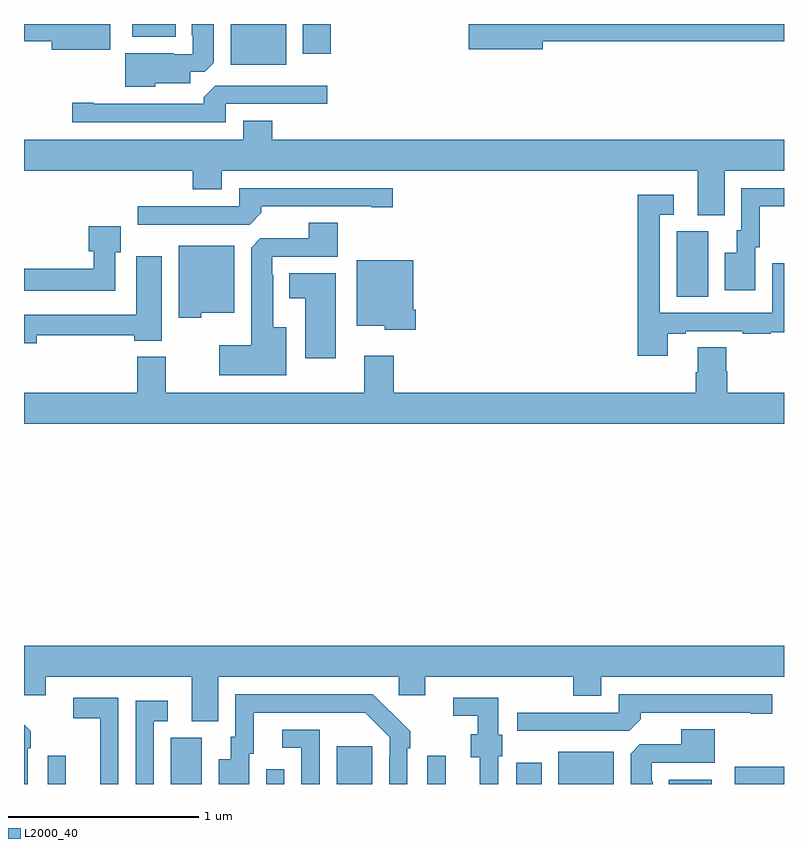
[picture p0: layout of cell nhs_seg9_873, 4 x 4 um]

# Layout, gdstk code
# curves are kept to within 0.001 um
import gdstk
lib = gdstk.Library(unit=1e-6, precision=1e-09)
def R(c, l, rs):  # rectangles x0, y0, x1, y1
    for r in rs: c.add(gdstk.rectangle(r[:2], r[2:], *l))
def P(c, l, *ps):  # polygons
    for p in ps: c.add(gdstk.Polygon(p, *l))
L2000_40 = (2000, 40)

nhs_seg9_873 = lib.new_cell('nhs_seg9_873')
R(nhs_seg9_873, L2000_40, [(157.125,1218.5,157.221,1218.649), (157.772,1218.5,157.936,1218.744), (158.274,1218.5,158.37,1218.577), (158.645,1218.5,158.833,1218.7), (159.123,1218.5,159.219,1218.649), (159.59,1218.5,159.724,1218.613), (159.812,1218.5,160.105,1218.67), (160.394,1218.5,160.621,1218.523), (160.74,1218.5,161,1218.592), (160.436,1221.064,160.6,1221.408), (158.087,1222.286,158.38,1222.5), (158.468,1222.344,158.615,1222.5), (157.571,1222.433,157.798,1222.5)])
P(nhs_seg9_873, L2000_40, [(157.453,1222.5),(157,1222.5),(157,1222.408),(157.145,1222.408),(157.145,1222.364),(157.453,1222.364)],
  [(157.692,1222.187),(157.876,1222.187),(157.876,1222.248),(157.95,1222.248),(157.999,1222.297),(157.999,1222.5),(157.883,1222.5),(157.883,1222.441),(157.887,1222.441),(157.887,1222.341),(157.787,1222.341),(157.787,1222.345),(157.532,1222.345),(157.532,1222.169),(157.692,1222.169)],
  [(159.73,1222.408),(161,1222.408),(161,1222.5),(159.342,1222.5),(159.342,1222.366),(159.73,1222.366)],
  [(158.061,1222.08),(158.596,1222.08),(158.596,1222.176),(158.007,1222.176),(157.946,1222.114),(157.946,1222.08),(157.366,1222.08),(157.366,1222.085),(157.254,1222.085),(157.254,1221.984),(158.061,1221.984)],
  [(160.687,1221.728),(161,1221.728),(161,1221.892),(158.306,1221.892),(158.306,1221.991),(158.153,1221.991),(158.153,1221.892),(157,1221.892),(157,1221.728),(157.889,1221.728),(157.889,1221.629),(158.041,1221.629),(158.041,1221.728),(160.547,1221.728),(160.547,1221.493),(160.687,1221.493)],
  [(160.849,1221.324),(160.873,1221.324),(160.873,1221.54),(161,1221.54),(161,1221.636),(160.776,1221.636),(160.776,1221.414),(160.751,1221.414),(160.751,1221.295),(160.688,1221.295),(160.688,1221.099),(160.849,1221.099)],
  [(158.249,1221.506),(158.249,1221.54),(158.828,1221.54),(158.828,1221.535),(158.941,1221.535),(158.941,1221.636),(158.133,1221.636),(158.133,1221.54),(157.599,1221.54),(157.599,1221.444),(158.187,1221.444)],
  [(160.387,1220.871),(160.483,1220.871),(160.483,1220.883),(160.783,1220.883),(160.783,1220.871),(160.931,1220.871),(160.931,1220.877),(161,1220.877),(161,1221.241),(160.938,1221.241),(160.938,1220.979),(160.347,1220.979),(160.347,1221.495),(160.42,1221.495),(160.42,1221.601),(160.231,1221.601),(160.231,1220.754),(160.387,1220.754)],
  [(158.38,1220.905),(158.311,1220.905),(158.311,1221.179),(158.307,1221.179),(158.307,1221.276),(158.651,1221.276),(158.651,1221.455),(158.498,1221.455),(158.498,1221.372),(158.244,1221.372),(158.195,1221.323),(158.195,1220.809),(158.028,1220.809),(158.028,1220.651),(158.38,1220.651)],
  [(157.479,1221.298),(157.51,1221.298),(157.51,1221.435),(157.34,1221.435),(157.34,1221.305),(157.367,1221.305),(157.367,1221.212),(157,1221.212),(157,1221.096),(157.479,1221.096)],
  [(157.932,1220.981),(158.107,1220.981),(158.107,1221.334),(157.814,1221.334),(157.814,1220.954),(157.932,1220.954)],
  [(157.066,1220.862),(157.58,1220.862),(157.58,1220.834),(157.726,1220.834),(157.726,1221.277),(157.592,1221.277),(157.592,1220.97),(157,1220.97),(157,1220.819),(157.066,1220.819)],
  [(159.062,1220.995),(159.049,1220.995),(159.049,1221.256),(158.75,1221.256),(158.75,1220.912),(158.898,1220.912),(158.898,1220.891),(159.062,1220.891)],
  [(158.641,1221.187),(158.396,1221.187),(158.396,1221.056),(158.48,1221.056),(158.48,1220.742),(158.641,1220.742)],
  [(161,1220.56),(160.7,1220.56),(160.7,1220.673),(160.695,1220.673),(160.695,1220.798),(160.547,1220.798),(160.547,1220.666),(160.535,1220.666),(160.535,1220.56),(158.945,1220.56),(158.945,1220.755),(158.792,1220.755),(158.792,1220.56),(157.747,1220.56),(157.747,1220.749),(157.595,1220.749),(157.595,1220.56),(157,1220.56),(157,1220.396),(161,1220.396)],
  [(158.023,1219.064),(158.973,1219.064),(158.973,1218.966),(159.112,1218.966),(159.112,1219.064),(159.892,1219.064),(159.892,1218.965),(160.039,1218.965),(160.039,1219.064),(161,1219.064),(161,1219.228),(157,1219.228),(157,1218.966),(157.114,1218.966),(157.114,1219.064),(157.883,1219.064),(157.883,1218.829),(158.023,1218.829)],
  [(160.247,1218.842),(160.247,1218.876),(160.826,1218.876),(160.826,1218.871),(160.939,1218.871),(160.939,1218.972),(160.131,1218.972),(160.131,1218.876),(159.597,1218.876),(159.597,1218.78),(160.185,1218.78)],
  [(158.185,1218.66),(158.209,1218.66),(158.209,1218.876),(158.797,1218.876),(158.925,1218.747),(158.925,1218.647),(158.922,1218.647),(158.922,1218.5),(159.018,1218.5),(159.018,1218.689),(159.033,1218.689),(159.033,1218.777),(158.836,1218.972),(158.112,1218.972),(158.112,1218.75),(158.087,1218.75),(158.087,1218.631),(158.024,1218.631),(158.024,1218.5),(158.185,1218.5)],
  [(157.497,1218.954),(157.26,1218.954),(157.26,1218.846),(157.4,1218.846),(157.4,1218.5),(157.497,1218.5)],
  [(159.495,1218.645),(159.516,1218.645),(159.516,1218.759),(159.495,1218.759),(159.495,1218.954),(159.258,1218.954),(159.258,1218.858),(159.387,1218.858),(159.387,1218.763),(159.35,1218.763),(159.35,1218.641),(159.398,1218.641),(159.398,1218.5),(159.495,1218.5)],
  [(157.683,1218.831),(157.756,1218.831),(157.756,1218.937),(157.587,1218.937),(157.587,1218.5),(157.683,1218.5)],
  [(157.02,1218.689),(157.035,1218.689),(157.035,1218.777),(157,1218.812),(157,1218.5),(157.02,1218.5)],
  [(160.309,1218.515),(160.305,1218.515),(160.305,1218.612),(160.636,1218.612),(160.636,1218.787),(160.46,1218.787),(160.46,1218.708),(160.242,1218.708),(160.193,1218.659),(160.193,1218.5),(160.309,1218.5)],
  [(158.556,1218.786),(158.358,1218.786),(158.358,1218.69),(158.46,1218.69),(158.46,1218.5),(158.556,1218.5)])

lib.write_gds('nhs_seg9_873.gds')
